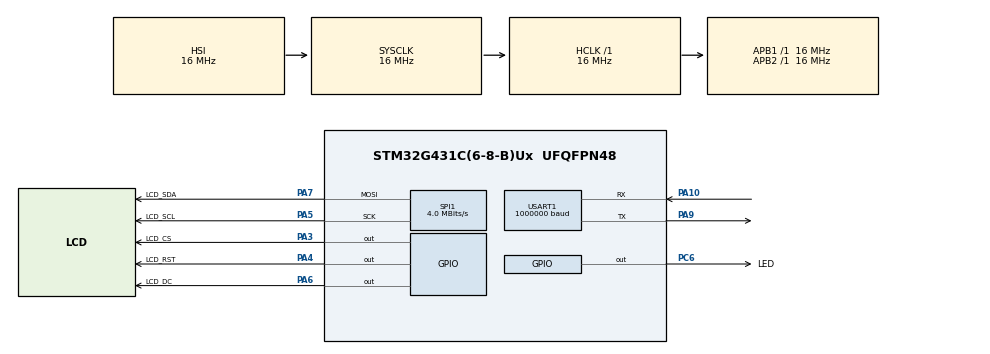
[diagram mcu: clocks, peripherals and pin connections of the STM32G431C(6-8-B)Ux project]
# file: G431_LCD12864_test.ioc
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Mcu.Family=STM32G4
Mcu.Name=STM32G431C(6-8-B)Ux
Mcu.Package=UFQFPN48
NVIC.PriorityGroup=NVIC_PRIORITYGROUP_4
PA10.Mode=Asynchronous
PA10.Signal=USART1_RX
PA13.Mode=Trace_Asynchronous_SW
PA13.Signal=SYS_JTMS-SWDIO
PA14.Mode=Trace_Asynchronous_SW
PA14.Signal=SYS_JTCK-SWCLK
PA3.GPIO_Label=LCD_CS
PA3.PinState=GPIO_PIN_SET
PA3.Signal=GPIO_Output
PA4.GPIO_Label=LCD_RST
PA4.PinState=GPIO_PIN_SET
PA4.Signal=GPIO_Output
PA5.GPIO_Label=LCD_SCL
PA5.Mode=TX_Only_Simplex_Unidirect_Master
PA5.Signal=SPI1_SCK
PA6.GPIO_Label=LCD_DC
PA6.Signal=GPIO_Output
PA7.GPIO_Label=LCD_SDA
PA7.Mode=TX_Only_Simplex_Unidirect_Master
PA7.Signal=SPI1_MOSI
PA9.Mode=Asynchronous
PA9.Signal=USART1_TX
PB3.Mode=Trace_Asynchronous_SW
PB3.Signal=SYS_JTDO-SWO
PC6.GPIO_Label=LED
PC6.Signal=GPIO_Output
ProjectManager.HeapSize=0x200
ProjectManager.StackSize=0x400
ProjectManager.TargetToolchain=STM32CubeIDE
RCC.AHBFreq_Value=16000000
RCC.APB1Freq_Value=16000000
RCC.APB1TimFreq_Value=16000000
RCC.APB2Freq_Value=16000000
RCC.APB2TimFreq_Value=16000000
RCC.CortexFreq_Value=16000000
RCC.EXTERNAL_CLOCK_VALUE=12288000
RCC.HCLKFreq_Value=16000000
RCC.HSE_VALUE=8000000
RCC.HSI48_VALUE=48000000
RCC.HSI_VALUE=16000000
RCC.LSE_VALUE=32768
RCC.SYSCLKFreq_VALUE=16000000
RCC.USBFreq_Value=64000000
RCC.VCOOutputFreq_Value=128000000
SPI1.BaudRatePrescaler=SPI_BAUDRATEPRESCALER_4
SPI1.CalculateBaudRate=4.0 MBits/s
SPI1.DataSize=SPI_DATASIZE_8BIT
SPI1.Direction=SPI_DIRECTION_2LINES
SPI1.Mode=SPI_MODE_MASTER
SPI1.VirtualType=VM_MASTER
USART1.BaudRate=1000000
USART1.VirtualMode-Asynchronous=VM_ASYNC
VP_SYS_VS_DBSignals.Mode=DisableDeadBatterySignals
board=custom

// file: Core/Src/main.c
/* USER CODE BEGIN Header */
/**
  ******************************************************************************
  * @file           : main.c
  * @brief          : Main program body
  ******************************************************************************
  * @attention
  *
  * Copyright (c) 2023 STMicroelectronics.
  * All rights reserved.
  *
  * This software is licensed under terms that can be found in the LICENSE file
  * in the root directory of this software component.
  * If no LICENSE file comes with this software, it is provided AS-IS.
  *
  ******************************************************************************
  */
/* USER CODE END Header */
#include "main.h"

/* USER CODE BEGIN Includes */
#include "st7567a.h"
/* USER CODE END Includes */

SPI_HandleTypeDef hspi1;

UART_HandleTypeDef huart1;

void SystemClock_Config(void);
static void MX_GPIO_Init(void);
static void MX_SPI1_Init(void);
static void MX_USART1_UART_Init(void);

int main(void)
{

  /* MCU Configuration--------------------------------------------------------*/

  /* Reset of all peripherals, Initializes the Flash interface and the Systick. */
  HAL_Init();

  /* Configure the system clock */
  SystemClock_Config();

  /* Initialize all configured peripherals */
  MX_GPIO_Init();
  MX_SPI1_Init();
  MX_USART1_UART_Init();
  /* USER CODE BEGIN 2 */
  HAL_UART_Transmit(&huart1, (uint8_t*)"G431 Init done!\r\n", 20, 100);

  st7567a_Init();

  st7567a_SetCursor(5, 20);
  st7567a_WriteString("HELLO!", FontStyle_videotype_18, PIXEL_ON);
  st7567a_Display();
  HAL_Delay(2000);

  /* USER CODE END 2 */

  /* Infinite loop */
  /* USER CODE BEGIN WHILE */
  ST7567A_PixelState_t state = PIXEL_ON;

  uint8_t x = 0, y = 0, dir = 0;

  while (1)
  {
  	if((dir % 2) == 0) {
			st7567a_DrawHLine(y, state);

			y += 2;
			if(y >= ST7567A_HEIGHT) {
				y = 0;
				dir = (dir + 1) % 2;
			}
  	}
  	else {
  		st7567a_DrawVLine(x, state);

			x += 2;
			if(x >= ST7567A_WIDTH) {
				x = 0;
				state = (state + 1) % 2;
				dir = (dir + 1) % 2;
			}
  	}

  	st7567a_Display();
		HAL_Delay(1000);

		HAL_GPIO_TogglePin(LED_GPIO_Port, LED_Pin);
    /* USER CODE END WHILE */

  }
}

void SystemClock_Config(void)
{
  RCC_OscInitTypeDef RCC_OscInitStruct = {0};
  RCC_ClkInitTypeDef RCC_ClkInitStruct = {0};

  /** Configure the main internal regulator output voltage
  */
  HAL_PWREx_ControlVoltageScaling(PWR_REGULATOR_VOLTAGE_SCALE1);

  /** Initializes the RCC Oscillators according to the specified parameters
  * in the RCC_OscInitTypeDef structure.
  */
  RCC_OscInitStruct.OscillatorType = RCC_OSCILLATORTYPE_HSI;
  RCC_OscInitStruct.HSIState = RCC_HSI_ON;
  RCC_OscInitStruct.HSICalibrationValue = RCC_HSICALIBRATION_DEFAULT;
  RCC_OscInitStruct.PLL.PLLState = RCC_PLL_NONE;
  if (HAL_RCC_OscConfig(&RCC_OscInitStruct) != HAL_OK)
  {
    Error_Handler();
  }

  /** Initializes the CPU, AHB and APB buses clocks
  */
  RCC_ClkInitStruct.ClockType = RCC_CLOCKTYPE_HCLK|RCC_CLOCKTYPE_SYSCLK
                              |RCC_CLOCKTYPE_PCLK1|RCC_CLOCKTYPE_PCLK2;
  RCC_ClkInitStruct.SYSCLKSource = RCC_SYSCLKSOURCE_HSI;
  RCC_ClkInitStruct.AHBCLKDivider = RCC_SYSCLK_DIV1;
  RCC_ClkInitStruct.APB1CLKDivider = RCC_HCLK_DIV1;
  RCC_ClkInitStruct.APB2CLKDivider = RCC_HCLK_DIV1;

  if (HAL_RCC_ClockConfig(&RCC_ClkInitStruct, FLASH_LATENCY_0) != HAL_OK)
  {
    Error_Handler();
  }
}

static void MX_SPI1_Init(void)
{

  /* SPI1 parameter configuration*/
  hspi1.Instance = SPI1;
  hspi1.Init.Mode = SPI_MODE_MASTER;
  hspi1.Init.Direction = SPI_DIRECTION_2LINES;
  hspi1.Init.DataSize = SPI_DATASIZE_8BIT;
  hspi1.Init.CLKPolarity = SPI_POLARITY_LOW;
  hspi1.Init.CLKPhase = SPI_PHASE_1EDGE;
  hspi1.Init.NSS = SPI_NSS_SOFT;
  hspi1.Init.BaudRatePrescaler = SPI_BAUDRATEPRESCALER_4;
  hspi1.Init.FirstBit = SPI_FIRSTBIT_MSB;
  hspi1.Init.TIMode = SPI_TIMODE_DISABLE;
  hspi1.Init.CRCCalculation = SPI_CRCCALCULATION_DISABLE;
  hspi1.Init.CRCPolynomial = 7;
  hspi1.Init.CRCLength = SPI_CRC_LENGTH_DATASIZE;
  hspi1.Init.NSSPMode = SPI_NSS_PULSE_ENABLE;
  if (HAL_SPI_Init(&hspi1) != HAL_OK)
  {
    Error_Handler();
  }

}

static void MX_USART1_UART_Init(void)
{

  huart1.Instance = USART1;
  huart1.Init.BaudRate = 1000000;
  huart1.Init.WordLength = UART_WORDLENGTH_8B;
  huart1.Init.StopBits = UART_STOPBITS_1;
  huart1.Init.Parity = UART_PARITY_NONE;
  huart1.Init.Mode = UART_MODE_TX_RX;
  huart1.Init.HwFlowCtl = UART_HWCONTROL_NONE;
  huart1.Init.OverSampling = UART_OVERSAMPLING_16;
  huart1.Init.OneBitSampling = UART_ONE_BIT_SAMPLE_DISABLE;
  huart1.Init.ClockPrescaler = UART_PRESCALER_DIV1;
  huart1.AdvancedInit.AdvFeatureInit = UART_ADVFEATURE_NO_INIT;
  if (HAL_UART_Init(&huart1) != HAL_OK)
  {
    Error_Handler();
  }
  if (HAL_UARTEx_SetTxFifoThreshold(&huart1, UART_TXFIFO_THRESHOLD_1_8) != HAL_OK)
  {
    Error_Handler();
  }
  if (HAL_UARTEx_SetRxFifoThreshold(&huart1, UART_RXFIFO_THRESHOLD_1_8) != HAL_OK)
  {
    Error_Handler();
  }
  if (HAL_UARTEx_DisableFifoMode(&huart1) != HAL_OK)
  {
    Error_Handler();
  }

}

static void MX_GPIO_Init(void)
{
  GPIO_InitTypeDef GPIO_InitStruct = {0};

  /* GPIO Ports Clock Enable */
  __HAL_RCC_GPIOA_CLK_ENABLE();
  __HAL_RCC_GPIOC_CLK_ENABLE();
  __HAL_RCC_GPIOB_CLK_ENABLE();

  /*Configure GPIO pin Output Level */
  HAL_GPIO_WritePin(GPIOA, LCD_CS_Pin|LCD_RST_Pin, GPIO_PIN_SET);

  /*Configure GPIO pin Output Level */
  HAL_GPIO_WritePin(LCD_DC_GPIO_Port, LCD_DC_Pin, GPIO_PIN_RESET);

  /*Configure GPIO pin Output Level */
  HAL_GPIO_WritePin(LED_GPIO_Port, LED_Pin, GPIO_PIN_RESET);

  /*Configure GPIO pins : LCD_CS_Pin LCD_RST_Pin LCD_DC_Pin */
  GPIO_InitStruct.Pin = LCD_CS_Pin|LCD_RST_Pin|LCD_DC_Pin;
  GPIO_InitStruct.Mode = GPIO_MODE_OUTPUT_PP;
  GPIO_InitStruct.Pull = GPIO_NOPULL;
  GPIO_InitStruct.Speed = GPIO_SPEED_FREQ_LOW;
  HAL_GPIO_Init(GPIOA, &GPIO_InitStruct);

  /*Configure GPIO pin : LED_Pin */
  GPIO_InitStruct.Pin = LED_Pin;
  GPIO_InitStruct.Mode = GPIO_MODE_OUTPUT_PP;
  GPIO_InitStruct.Pull = GPIO_NOPULL;
  GPIO_InitStruct.Speed = GPIO_SPEED_FREQ_LOW;
  HAL_GPIO_Init(LED_GPIO_Port, &GPIO_InitStruct);

}

void Error_Handler(void)
{
  __disable_irq();
  while (1)
  {
  }
}
